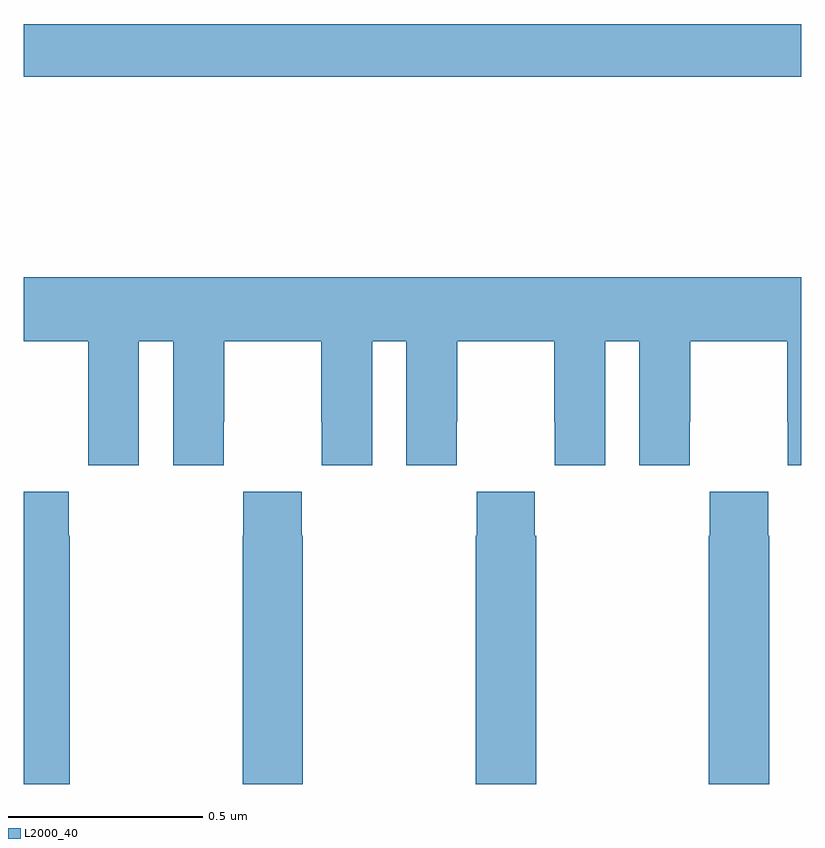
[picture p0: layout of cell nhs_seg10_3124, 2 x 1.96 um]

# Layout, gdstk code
import gdstk
lib = gdstk.Library(unit=1e-6, precision=1e-09)
def R(c, l, rs):  # rectangles x0, y0, x1, y1
    for r in rs: c.add(gdstk.rectangle(r[:2], r[2:], *l))
def P(c, l, *ps):  # polygons
    for p in ps: c.add(gdstk.Polygon(p, *l))
L2000_40 = (2000, 40)

nhs_seg10_3124 = lib.new_cell('nhs_seg10_3124')
R(nhs_seg10_3124, L2000_40, [(149,1310.32,151,1310.456)])
P(nhs_seg10_3124, L2000_40, [(149.296,1309.64),(149.384,1309.64),(149.384,1309.32),(149.514,1309.32),(149.514,1309.432),(149.515,1309.432),(149.515,1309.64),(149.765,1309.64),(149.765,1309.432),(149.766,1309.432),(149.766,1309.32),(149.896,1309.32),(149.896,1309.64),(149.984,1309.64),(149.984,1309.32),(150.114,1309.32),(150.114,1309.432),(150.115,1309.432),(150.115,1309.64),(150.365,1309.64),(150.365,1309.432),(150.366,1309.432),(150.366,1309.32),(150.496,1309.32),(150.496,1309.64),(150.584,1309.64),(150.584,1309.32),(150.714,1309.32),(150.714,1309.432),(150.715,1309.432),(150.715,1309.64),(150.965,1309.64),(150.965,1309.432),(150.966,1309.432),(150.966,1309.32),(151,1309.32),(151,1309.804),(149,1309.804),(149,1309.64),(149.165,1309.64),(149.165,1309.432),(149.166,1309.432),(149.166,1309.32),(149.296,1309.32)],
  [(150.918,1309.139),(150.915,1309.139),(150.915,1309.252),(150.765,1309.252),(150.765,1309.139),(150.763,1309.139),(150.763,1308.5),(150.918,1308.5)],
  [(150.318,1309.139),(150.315,1309.139),(150.315,1309.252),(150.165,1309.252),(150.165,1309.139),(150.163,1309.139),(150.163,1308.5),(150.318,1308.5)],
  [(149.718,1309.139),(149.715,1309.139),(149.715,1309.252),(149.565,1309.252),(149.565,1309.139),(149.563,1309.139),(149.563,1308.5),(149.718,1308.5)],
  [(149.118,1309.139),(149.115,1309.139),(149.115,1309.252),(149,1309.252),(149,1308.5),(149.118,1308.5)])

lib.write_gds('nhs_seg10_3124.gds')
